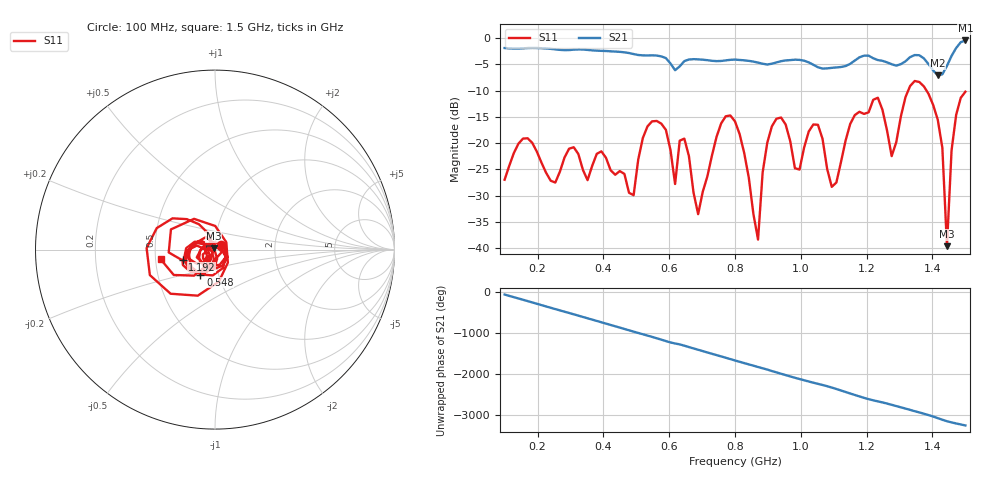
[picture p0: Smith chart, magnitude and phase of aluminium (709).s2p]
! NanoVNA-App
! Date: 2025-09-25 15:00:48
! Start: 100MHz Stop: 1,5GHz Points: 101
! S-Parameter data: F S11 S21 S12 S22
# Hz S RI R 50
!  Frequency  S11_Real  S11_Imag  S21_Real  S21_Imag  S12_Real  S12_Imag  S22_Real  S22_Imag
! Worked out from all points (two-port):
!   101 points, 100 MHz to 1.5 GHz, reference 50 ohm
!   highest |S21| = -0.48 dB at 1.5 GHz (marker M1); lowest = -7.1 dB at 1.416 GHz (marker M2)
!   |S21| within 3 dB of the highest: start of sweep to 573.5 MHz; 1.458 GHz to end of sweep (the widest 2 of 4)
!   lowest |S11| = -39.6 dB at 1.444 GHz (marker M3), VSWR 1.02, Z = 49.2 + j0.654 ohm
!   |S11| at or under -10 dB: start of sweep to 1.326 GHz; 1.382 GHz to end of sweep
!   S12 and S22 are empty: the file has one direction only
!   S11 on the Smith chart (normalised r, x): 100 MHz: 1.07, +0.06; 548 MHz: 0.82, -0.23; 1.192 GHz: 0.69, -0.08; 1.5 GHz: 0.53, -0.06
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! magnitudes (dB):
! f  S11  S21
! 100 MHz  -27.0  -1.9
! 156 MHz  -19.1  -2.0
! 338 MHz  -25.1  -2.2
! 492 MHz  -29.9  -3.1
! 548 MHz  -15.9  -3.3
! 576 MHz  -16.3  -3.5
! 618 MHz  -27.8  -6.1
! 646 MHz  -19.1  -4.4
! 688 MHz  -33.5  -4.1
! 800 MHz  -15.9  -4.1
! 870 MHz  -38.3  -4.7
! 912 MHz  -16.8  -4.9
! 996 MHz  -25.0  -4.2
! 1.038 GHz  -16.5  -5.1
! 1.094 GHz  -28.3  -5.7
! 1.192 GHz  -14.4  -3.4
! 1.276 GHz  -22.5  -5.0
! 1.346 GHz  -8.2  -3.3
! 1.416 GHz  -15.5  -7.1
! 1.444 GHz  -39.6  -5.3
! 1.458 GHz  -21.4  -3.4
! 1.5 GHz  -10.2  -0.5
